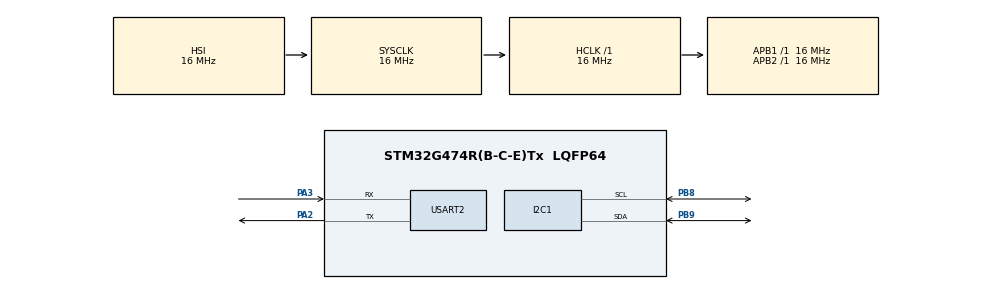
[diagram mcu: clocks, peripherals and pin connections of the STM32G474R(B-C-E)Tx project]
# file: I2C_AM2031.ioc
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I2C1.Timing=0x00503D58
Mcu.Family=STM32G4
Mcu.Name=STM32G474R(B-C-E)Tx
Mcu.Package=LQFP64
NVIC.PriorityGroup=NVIC_PRIORITYGROUP_4
PA13.Mode=Serial_Wire
PA13.Signal=SYS_JTMS-SWDIO
PA14.Mode=Serial_Wire
PA14.Signal=SYS_JTCK-SWCLK
PA2.Mode=Asynchronous
PA2.Signal=USART2_TX
PA3.Mode=Asynchronous
PA3.Signal=USART2_RX
PB8-BOOT0.Mode=I2C
PB8-BOOT0.Signal=I2C1_SCL
PB9.Mode=I2C
PB9.Signal=I2C1_SDA
ProjectManager.HeapSize=0x200
ProjectManager.StackSize=0x400
ProjectManager.TargetToolchain=STM32CubeIDE
RCC.AHBFreq_Value=16000000
RCC.APB1Freq_Value=16000000
RCC.APB1TimFreq_Value=16000000
RCC.APB2Freq_Value=16000000
RCC.APB2TimFreq_Value=16000000
RCC.CortexFreq_Value=16000000
RCC.EXTERNAL_CLOCK_VALUE=12288000
RCC.HCLKFreq_Value=16000000
RCC.HSE_VALUE=8000000
RCC.HSI48_VALUE=48000000
RCC.HSI_VALUE=16000000
RCC.LSE_VALUE=32768
RCC.SYSCLKFreq_VALUE=16000000
RCC.USBFreq_Value=64000000
RCC.VCOOutputFreq_Value=128000000
USART2.VirtualMode-Asynchronous=VM_ASYNC
VP_SYS_VS_DBSignals.Mode=DisableDeadBatterySignals
board=custom

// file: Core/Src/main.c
/* USER CODE BEGIN Header */
/**
  ******************************************************************************
  * @file           : main.c
  * @brief          : Main program body
  ******************************************************************************
  * @attention
  *
  * Copyright (c) 2026 STMicroelectronics.
  * All rights reserved.
  *
  * This software is licensed under terms that can be found in the LICENSE file
  * in the root directory of this software component.
  * If no LICENSE file comes with this software, it is provided AS-IS.
  *
  ******************************************************************************
  */
/* USER CODE END Header */
#include "main.h"

/* USER CODE BEGIN Includes */
#include <string.h>
#include <stdbool.h>
#include <stdio.h>
#include <string.h>

/* USER CODE END Includes */

/* USER CODE BEGIN PD */
#define AM2301B_ADDR_7BIT   0x38
#define AM2301B_ADDR_8BIT   (AM2301B_ADDR_7BIT << 1)

/* USER CODE END PD */

I2C_HandleTypeDef hi2c1;

UART_HandleTypeDef huart2;

void SystemClock_Config(void);
static void MX_GPIO_Init(void);
static void MX_I2C1_Init(void);
static void MX_USART2_UART_Init(void);

/* USER CODE BEGIN 0 */

static void uart_print(const char *msg)
{
  HAL_UART_Transmit(&huart2, (uint8_t *)msg, strlen(msg), HAL_MAX_DELAY);
}

// Polynomial 1+X4+X5+X8 corresponds to 0x31
static uint8_t am2301b_crc8(const uint8_t *data, uint8_t len)
{
  uint8_t crc = 0xFF;
  for (uint8_t i = 0; i < len; i++) {
    crc ^= data[i];
    for (uint8_t b = 0; b < 8; b++) {
      if (crc & 0x80) crc = (uint8_t)((crc << 1) ^ 0x31);
      else           crc = (uint8_t)(crc << 1);
    }
  }
  return crc;
}

// Read one status byte (command 0x71)
static HAL_StatusTypeDef am2301b_read_status(I2C_HandleTypeDef *hi2c, uint8_t *status)
{
  uint8_t cmd = 0x71;
  HAL_StatusTypeDef ok;

  ok = HAL_I2C_Master_Transmit(hi2c, AM2301B_ADDR_8BIT, &cmd, 1, 100);
  if (ok != HAL_OK) return ok;

  return HAL_I2C_Master_Receive(hi2c, AM2301B_ADDR_8BIT, status, 1, 100);
}

// Trigger measurement (0xAC 0x33 0x00)
static HAL_StatusTypeDef am2301b_trigger_measurement(I2C_HandleTypeDef *hi2c)
{
  uint8_t cmd[3] = {0xAC, 0x33, 0x00};
  return HAL_I2C_Master_Transmit(hi2c, AM2301B_ADDR_8BIT, cmd, sizeof(cmd), 100);
}

// Read 6 data bytes
static HAL_StatusTypeDef am2301b_read_data6(I2C_HandleTypeDef *hi2c, uint8_t data6[6])
{
  return HAL_I2C_Master_Receive(hi2c, AM2301B_ADDR_8BIT, data6, 6, 200);
}

// Convert raw bytes to humidity (%) and temperature (°C)
static void am2301b_convert(const uint8_t d[6], float *rh_percent, float *temp_c)
{

  // d0 = status, then 20-bit humidity, then 20-bit temperature in remaining bits.
  // humidity_raw = d1<<12 | d2<<4 | (d3>>4)
  // temp_raw     = (d3&0x0F)<<16 | d4<<8 | d5

  uint32_t humidity_raw = ((uint32_t)d[1] << 12) | ((uint32_t)d[2] << 4) | ((uint32_t)(d[3] >> 4));
  uint32_t temp_raw     = ((uint32_t)(d[3] & 0x0F) << 16) | ((uint32_t)d[4] << 8) | (uint32_t)d[5];

  // RH[%] = (SRH / 2^20) * 100
  // T[°C] = (ST / 2^20) * 200 - 50
  *rh_percent = ((float)humidity_raw * 100.0f) / 1048576.0f; // 2^20
  *temp_c     = ((float)temp_raw     * 200.0f) / 1048576.0f - 50.0f;
}

static HAL_StatusTypeDef am2301b_read(float *rh_percent, float *temp_c)
{
  HAL_StatusTypeDef ok;
  uint8_t status = 0;

  // Read status (0x71).
  ok = am2301b_read_status(&hi2c1, &status);
  if (ok != HAL_OK) return ok;

  // Trigger measurement
  ok = am2301b_trigger_measurement(&hi2c1);
  if (ok != HAL_OK) return ok;

  // Wait >=80ms, then poll busy bit (Bit7) until 0
  HAL_Delay(80);

  for (int tries = 0; tries < 10; tries++) {
    ok = am2301b_read_status(&hi2c1, &status);
    if (ok != HAL_OK) return ok;

    if ((status & 0x80) == 0) break; // Bit7 == 0 => ready
    HAL_Delay(10);
  }

  if (status & 0x80) {
    // still busy after polling
    return HAL_TIMEOUT;
  }

  // Read 6 bytes
  uint8_t d[6] = {0};
  ok = am2301b_read_data6(&hi2c1, d);
  if (ok != HAL_OK) return ok;

  // Convert
  am2301b_convert(d, rh_percent, temp_c);

  return HAL_OK;
}

/* USER CODE END 0 */

int main(void)
{

  /* MCU Configuration--------------------------------------------------------*/

  /* Reset of all peripherals, Initializes the Flash interface and the Systick. */
  HAL_Init();

  /* Configure the system clock */
  SystemClock_Config();

  /* Initialize all configured peripherals */
  MX_GPIO_Init();
  MX_I2C1_Init();
  MX_USART2_UART_Init();
  /* USER CODE BEGIN 2 */
  HAL_Delay(150);

  /* USER CODE END 2 */

  /* Infinite loop */
  while (1)
  {

    /* USER CODE BEGIN 3 */
	  float rh = 0.0f, tc = 0.0f;
	  char buf[96];

	  if (am2301b_read(&rh, &tc) == HAL_OK)
	  {
	    int rh_x10 = (int)(rh * 10.0f);   // humidity ×10
	    int tc_x10 = (int)(tc * 10.0f);   // Celsius ×10

	    // Fahrenheit ×10: F = C * 9/5 + 32
	    int tf_x10 = (tc_x10 * 9) / 5 + 320;

	    snprintf(buf, sizeof(buf),
	             "Humidity: %d.%d %%RH, Temp: %d.%d C / %d.%d F\r\n",
	             rh_x10 / 10, abs(rh_x10 % 10),
	             tc_x10 / 10, abs(tc_x10 % 10),
	             tf_x10 / 10, abs(tf_x10 % 10));

	    uart_print(buf);
	  }
	  else
	  {
	    uart_print("AM2301B read error\r\n");
	  }

	  HAL_Delay(2000);
  }
  /* USER CODE END 3 */
}

void SystemClock_Config(void)
{
  RCC_OscInitTypeDef RCC_OscInitStruct = {0};
  RCC_ClkInitTypeDef RCC_ClkInitStruct = {0};

  /** Configure the main internal regulator output voltage
  */
  HAL_PWREx_ControlVoltageScaling(PWR_REGULATOR_VOLTAGE_SCALE1);

  /** Initializes the RCC Oscillators according to the specified parameters
  * in the RCC_OscInitTypeDef structure.
  */
  RCC_OscInitStruct.OscillatorType = RCC_OSCILLATORTYPE_HSI;
  RCC_OscInitStruct.HSIState = RCC_HSI_ON;
  RCC_OscInitStruct.HSICalibrationValue = RCC_HSICALIBRATION_DEFAULT;
  RCC_OscInitStruct.PLL.PLLState = RCC_PLL_NONE;
  if (HAL_RCC_OscConfig(&RCC_OscInitStruct) != HAL_OK)
  {
    Error_Handler();
  }

  /** Initializes the CPU, AHB and APB buses clocks
  */
  RCC_ClkInitStruct.ClockType = RCC_CLOCKTYPE_HCLK|RCC_CLOCKTYPE_SYSCLK
                              |RCC_CLOCKTYPE_PCLK1|RCC_CLOCKTYPE_PCLK2;
  RCC_ClkInitStruct.SYSCLKSource = RCC_SYSCLKSOURCE_HSI;
  RCC_ClkInitStruct.AHBCLKDivider = RCC_SYSCLK_DIV1;
  RCC_ClkInitStruct.APB1CLKDivider = RCC_HCLK_DIV1;
  RCC_ClkInitStruct.APB2CLKDivider = RCC_HCLK_DIV1;

  if (HAL_RCC_ClockConfig(&RCC_ClkInitStruct, FLASH_LATENCY_0) != HAL_OK)
  {
    Error_Handler();
  }
}

static void MX_I2C1_Init(void)
{

  hi2c1.Instance = I2C1;
  hi2c1.Init.Timing = 0x00503D58;
  hi2c1.Init.OwnAddress1 = 0;
  hi2c1.Init.AddressingMode = I2C_ADDRESSINGMODE_7BIT;
  hi2c1.Init.DualAddressMode = I2C_DUALADDRESS_DISABLE;
  hi2c1.Init.OwnAddress2 = 0;
  hi2c1.Init.OwnAddress2Masks = I2C_OA2_NOMASK;
  hi2c1.Init.GeneralCallMode = I2C_GENERALCALL_DISABLE;
  hi2c1.Init.NoStretchMode = I2C_NOSTRETCH_DISABLE;
  if (HAL_I2C_Init(&hi2c1) != HAL_OK)
  {
    Error_Handler();
  }

  if (HAL_I2CEx_ConfigAnalogFilter(&hi2c1, I2C_ANALOGFILTER_ENABLE) != HAL_OK)
  {
    Error_Handler();
  }

  /** Configure Digital filter
  */
  if (HAL_I2CEx_ConfigDigitalFilter(&hi2c1, 0) != HAL_OK)
  {
    Error_Handler();
  }

}

static void MX_USART2_UART_Init(void)
{

  huart2.Instance = USART2;
  huart2.Init.BaudRate = 115200;
  huart2.Init.WordLength = UART_WORDLENGTH_8B;
  huart2.Init.StopBits = UART_STOPBITS_1;
  huart2.Init.Parity = UART_PARITY_NONE;
  huart2.Init.Mode = UART_MODE_TX_RX;
  huart2.Init.HwFlowCtl = UART_HWCONTROL_NONE;
  huart2.Init.OverSampling = UART_OVERSAMPLING_16;
  huart2.Init.OneBitSampling = UART_ONE_BIT_SAMPLE_DISABLE;
  huart2.Init.ClockPrescaler = UART_PRESCALER_DIV1;
  huart2.AdvancedInit.AdvFeatureInit = UART_ADVFEATURE_NO_INIT;
  if (HAL_UART_Init(&huart2) != HAL_OK)
  {
    Error_Handler();
  }
  if (HAL_UARTEx_SetTxFifoThreshold(&huart2, UART_TXFIFO_THRESHOLD_1_8) != HAL_OK)
  {
    Error_Handler();
  }
  if (HAL_UARTEx_SetRxFifoThreshold(&huart2, UART_RXFIFO_THRESHOLD_1_8) != HAL_OK)
  {
    Error_Handler();
  }
  if (HAL_UARTEx_DisableFifoMode(&huart2) != HAL_OK)
  {
    Error_Handler();
  }

}

static void MX_GPIO_Init(void)
{

  /* GPIO Ports Clock Enable */
  __HAL_RCC_GPIOA_CLK_ENABLE();
  __HAL_RCC_GPIOB_CLK_ENABLE();

}

void Error_Handler(void)
{
  __disable_irq();
  while (1)
  {
  }
}
